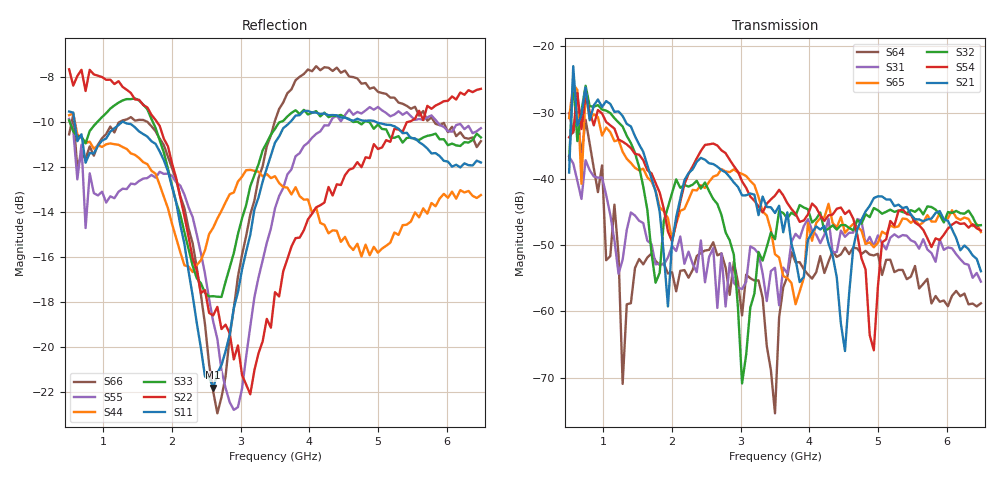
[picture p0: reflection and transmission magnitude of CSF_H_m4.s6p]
!Keysight Technologies,M9804A,MY58100912,A.14.10.03
!Date: Thursday, April 27, 2023 10:28:33
!Correction: S11(C  6-Port  )
!S12(C  6-Port  )
!S13(C  6-Port  )
!S14(C  6-Port  )
!S15(C  6-Port  )
!S16(C  6-Port  )
!S21(C  6-Port  )
!S22(C  6-Port  )
!S23(C  6-Port  )
!S24(C  6-Port  )
!S25(C  6-Port  )
!S26(C  6-Port  )
!S31(C  6-Port  )
!S32(C  6-Port  )
!S33(C  6-Port  )
!S34(C  6-Port  )
!S35(C  6-Port  )
!S36(C  6-Port  )
!S41(C  6-Port  )
!S42(C  6-Port  )
!S43(C  6-Port  )
!S44(C  6-Port  )
!S45(C  6-Port  )
!S46(C  6-Port  )
!S51(C  6-Port  )
!S52(C  6-Port  )
!S53(C  6-Port  )
!S54(C  6-Port  )
!S55(C  6-Port  )
!S56(C  6-Port  )
!S61(C  6-Port  )
!S62(C  6-Port  )
!S63(C  6-Port  )
!S64(C  6-Port  )
!S65(C  6-Port  )
!S66(C  6-Port  )
!S6P File: Measurement: :
# Hz S  RI  R 50
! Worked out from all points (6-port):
!   101 points, 500 MHz to 6.5 GHz, reference 50 ohm
!   strongest paths, dB at 500 MHz, 2 GHz, 3.5 GHz, 5 GHz, 6.5 GHz:
!     S21: -39.0, -49.6, -45.1, -42.6, -53.9
!     S54: -33.7, -49.4, -42.5, -56.2, -47.8
!     S32: -37.1, -42.1, -49.1, -44.7, -47.0
!     S65: -30.8, -49.2, -51.4, -49.6, -48.0
!     S31: -36.6, -50.1, -53.4, -48.5, -55.5
!     S64: -30.1, -54.1, -75.4, -51.3, -58.8
!   lowest |S11| = -21.8 dB at 2.6 GHz (marker M1), VSWR 1.18, Z = 42.7 + j1.92 ohm
!   |S11| at or under -10 dB: 580.2 MHz to 1.268 GHz (687.8 MHz wide, 74.4 % of centre); 1.3 GHz to 3.718 GHz (2.418 GHz wide, 96.4 % of centre); 4.98 GHz to end of sweep
